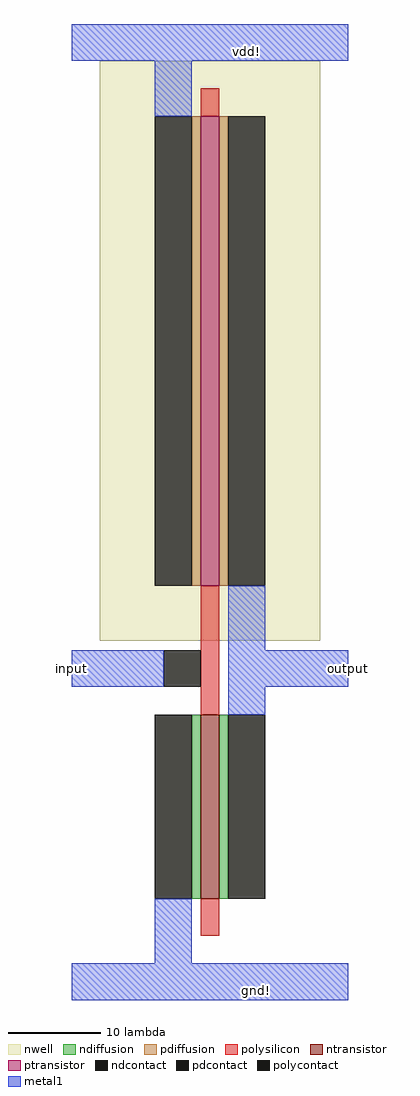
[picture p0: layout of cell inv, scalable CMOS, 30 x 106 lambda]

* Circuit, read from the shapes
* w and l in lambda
.subckt inv gnd! input output vdd!
M1 output input gnd! VSUBS nfet w=20 l=2
M2 output input vdd! n1 pfet w=51 l=2
.ends

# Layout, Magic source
magic
tech scmos
<< nwell >>
rect -6 -6 18 57
<< ntransistor >>
rect 5 -34 7 -14
<< ptransistor >>
rect 5 0 7 51
<< ndiffusion >>
rect 4 -34 5 -14
rect 7 -34 8 -14
<< pdiffusion >>
rect 4 0 5 51
rect 7 0 8 51
<< ndcontact >>
rect 0 -34 4 -14
rect 8 -34 12 -14
<< pdcontact >>
rect 0 0 4 51
rect 8 0 12 51
<< polysilicon >>
rect 5 51 7 54
rect 5 -14 7 0
rect 5 -38 7 -34
<< polycontact >>
rect 1 -11 5 -7
<< metal1 >>
rect -9 57 21 61
rect 0 51 4 57
rect 8 -7 12 0
rect -9 -11 1 -7
rect 8 -11 21 -7
rect 8 -14 12 -11
rect 0 -41 4 -34
rect -9 -45 21 -41
<< labels >>
rlabel metal1 10 58 10 58 5 vdd!
rlabel metal1 11 -44 11 -44 1 gnd!
rlabel metal1 21 -11 21 -7 7 output
rlabel metal1 -9 -11 -9 -7 3 input
<< end >>
